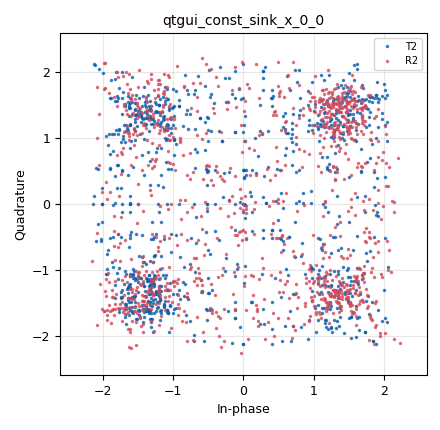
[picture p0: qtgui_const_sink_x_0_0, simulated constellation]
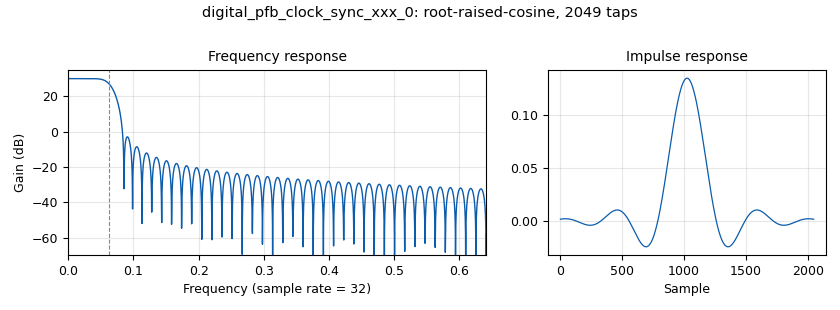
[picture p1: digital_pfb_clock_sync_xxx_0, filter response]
options:
  parameters:
    author: Homero Ortega Boada
    category: Custom
    description: Dale un valor a Es/No, corre el flujograma y obten la SER. Puedes sacar tantos valores como para construir una curva de SER
    generate_options: qt_gui
    id: ser_simulation
    output_language: python
    run: run_stop
    title: SER Simulation
  states: {}

blocks:
- name: Dtiming
  id: variable_qtgui_range
  parameters:
    gui_hint: controles@0:4,0,1,1
    label: Dtiming
    rangeType: int
    start: '0'
    step: '1'
    stop: Sps-1
    value: '0'
  states: {state: disabled}
- name: Jitter
  id: variable_qtgui_range
  parameters:
    gui_hint: controles@0:6,0,1,1
    label: Jitter
    rangeType: int
    start: '0'
    step: '1'
    stop: Sps
    value: '0'
  states: {}
- name: M
  id: variable
  parameters:
    value: len(constel)
  states: {}
- name: Noise
  id: variable_qtgui_range
  parameters:
    gui_hint: controles@0:1,0,1,1
    label: Noise
    start: '0'
    step: '0.1'
    stop: '10'
    value: '0.1'
  states: {}
- name: Retardo_sym
  id: variable_qtgui_range
  parameters:
    gui_hint: controles@0:5,0,1,1
    label: Delay transmited signal to match with the received signal
    rangeType: int
    start: '0'
    step: '1'
    stop: Sps*10
    value: '10'
  states: {}
- name: Rs
  id: variable
  parameters:
    value: samp_rate/Sps
  states: {}
- name: Sps
  id: variable
  parameters:
    value: '8'
  states: {}
- name: a_d
  id: variable_qtgui_range
  parameters:
    gui_hint: controles@0:3,0,1,1
    label: Fading
    start: '0'
    step: 1/100
    stop: '1'
    value: '1'
  states: {}
- name: alpha
  id: variable
  parameters:
    value: '0.3'
  states: {}
- name: constel
  id: variable
  parameters:
    value: digital.constellation_qpsk().points()
  states: {}
- name: f_d
  id: variable_qtgui_range
  parameters:
    gui_hint: controles@0:2,0,1,1
    label: Desviacion de Frecuencia
    start: '0'
    step: 1400/100
    stop: '1400'
    value: '0'
  states: {}
- name: h
  id: variable
  parameters:
    value: mis_funciones.rrcos(Sps,ntaps,alpha)
  states: {}
- name: mapdirect
  id: variable
  parameters:
    value: coding.direct_map(constel)
  states: {}
- name: mapinverse
  id: variable
  parameters:
    value: coding.inverse_map(constel)
  states: {}
- name: nfilts
  id: variable
  parameters:
    value: '32'
  states: {}
- name: ntaps
  id: variable
  parameters:
    value: '64'
  states: {}
- name: run_stop
  id: variable_qtgui_check_box
  parameters:
    'false': 'False'
    gui_hint: controles@0:0,0,1,1
    label: Inicial/Parar
    'true': 'True'
    type: int
    value: 'True'
  states: {}
- name: samp_rate
  id: variable
  parameters:
    value: 100e3
  states: {}
- name: analog_agc3_xx_0
  id: analog_agc3_xx
  parameters:
    attack_rate: '1e-3'
    decay_rate: '1e-4'
    gain: '1.0'
    iir_update_decim: '1'
    max_gain: '65536'
    reference: '1.0'
    type: complex
  states: {}
- name: analog_const_source_x_0
  id: analog_const_source_x
  parameters:
    const: np.exp(math.pi*1j)
    type: complex
  states: {}
- name: analog_noise_source_x_0
  id: analog_noise_source_x
  parameters:
    amp: Noise
    noise_type: analog.GR_GAUSSIAN
    seed: '0'
    type: complex
  states: {}
- name: analog_random_source_x_1
  id: analog_random_source_x
  parameters:
    max: M
    min: '0'
    num_samps: '10000000'
    repeat: 'True'
    type: byte
  states: {}
- name: analog_sig_source_x_1
  id: analog_sig_source_x
  parameters:
    amp: '1'
    freq: f_d
    offset: '0'
    phase: '0'
    samp_rate: samp_rate
    type: complex
    waveform: analog.GR_COS_WAVE
  states: {}
- name: b_FLL_tunner2_0
  id: b_FLL_tunner2
  parameters:
    Constellation: constel
  states: {}
- name: b_demod_constelacion_cb_0
  id: b_demod_constelacion_cb
  parameters:
    Constelacion: constel
  states: {}
- name: blocks_add_xx_0
  id: blocks_add_xx
  parameters:
    type: complex
  states: {}
- name: blocks_char_to_float_0
  id: blocks_char_to_float
  parameters:
    scale: '1'
  states: {state: disabled}
- name: blocks_char_to_float_0_0
  id: blocks_char_to_float
  parameters:
    scale: '1'
  states: {state: disabled}
- name: blocks_char_to_float_0_0_0
  id: blocks_char_to_float
  parameters:
    scale: '1'
  states: {}
- name: blocks_char_to_float_0_1
  id: blocks_char_to_float
  parameters:
    scale: '1'
  states: {}
- name: blocks_delay_0
  id: blocks_delay
  parameters:
    delay: Retardo_sym
    type: float
  states: {}
- name: blocks_delay_1
  id: blocks_delay
  parameters:
    delay: Jitter
    type: complex
  states: {}
- name: blocks_multiply_const_vxx_0
  id: blocks_multiply_const_vxx
  parameters:
    const: a_d
    type: complex
  states: {}
- name: blocks_multiply_const_vxx_0_0
  id: blocks_multiply_const_vxx
  parameters:
    const: 1/Sps
    type: complex
  states: {}
- name: blocks_multiply_xx_0
  id: blocks_multiply_xx
  parameters:
    num_inputs: '3'
    type: complex
  states: {}
- name: blocks_null_sink_0
  id: blocks_null_sink
  parameters:
    type: byte
  states: {}
- name: coding
  id: epy_module
  parameters:
    source_code: "# this module will be imported in the into your flowgraph\nimport numpy\nimport math\n#######################################################\n##        Done by Homero Ortega Boada              ##\n##        comdiguis@saber.uis.edu.co                 ##\n##     Universidad Industrial de Santander           ##\n#######################################################\n#######################################################\n##       Constellation map  identification           ##\n#######################################################                  \n# Constellation points are analyzed to determine the \n# the map used for ordering of the constellation points\ndef sum_modulus(a,b,modulus):\n    # realiza una suma de a y b en modulo modulus\n    return (a+b)%modulus\n\ndef angle_map(constellation_points):\n    # esta funcion entrega todos los angulos positivos entre 0 y 2pi\n    angles=numpy.angle(constellation_points)\n    return sum_modulus(angles, 2*math.pi, 2*math.pi)\n\ndef inverse_map(constellation_points):\n    M=len(constellation_points)\n    angles=angle_map(constellation_points)\n    angles=sum_modulus(angles,-angles[0], 2*math.pi) # giro a agulo cero\n    delta_angle= 2*math.pi/M     # angulo entre puntos\n    cod_inv=numpy.round(angles/delta_angle)\n    cod_inv=cod_inv.astype(numpy.int) #conversion a entero \n    return cod_inv\n\ndef direct_map(constellation_points):\n    M=len(constellation_points)\n    codinv=inverse_map(constellation_points)\n    coddirect=numpy.array([0]*M)\n    for j in range(M):\n        temp=numpy.where(codinv==j)\n        coddirect[j]=temp[0][0]\n    return coddirect\n\n\"\"\" # SECCION DE PRUEBAS DEL CODIGO\nimport gnuradio.digital as digital\nconstelacion=digital.constellation_8psk().points()\nprint(\"constelacion = \", constelacion)\nmapdirect=direct_map(constelacion)\nprint(\"codigo directo = \", mapdirect)\nmapinverse=inverse_map(constelacion)\nprint(\"codigo inverso = \", mapinverse)\n\"\"\"\n\n\n\n\n\n\n"
  states: {}
- name: controles
  id: qtgui_tab_widget
  parameters:
    gui_hint: 1,0,1,1
    label0: Tab 0
    num_tabs: '1'
  states: {}
- name: digital_chunks_to_symbols_xx_1
  id: digital_chunks_to_symbols_xx
  parameters:
    dimension: '1'
    in_type: byte
    out_type: complex
    symbol_table: constel
  states: {}
- name: digital_diff_decoder_bb_0
  id: digital_diff_decoder_bb
  parameters:
    modulus: M
  states: {}
- name: digital_diff_encoder_bb_0
  id: digital_diff_encoder_bb
  parameters:
    modulus: M
  states: {}
- name: digital_map_bb_0
  id: digital_map_bb
  parameters:
    map: mapdirect
  states: {}
- name: digital_map_bb_0_0
  id: digital_map_bb
  parameters:
    map: mapinverse
  states: {}
- name: digital_pfb_clock_sync_xxx_0
  id: digital_pfb_clock_sync_xxx
  parameters:
    filter_size: nfilts
    init_phase: nfilts/2
    loop_bw: 2*math.pi/100.0
    max_dev: '1.5'
    osps: '1'
    sps: Sps
    taps: firdes.root_raised_cosine(nfilts, nfilts, 1.0/float(Sps), alpha, ntaps*nfilts)
    type: ccf
  states: {}
- name: import
  id: import
  parameters:
    imports: import math
  states: {}
- name: import_0
  id: import
  parameters:
    imports: import numpy as np
  states: {}
- name: interp_fir_filter_xxx_0
  id: interp_fir_filter_xxx
  parameters:
    interp: Sps
    taps: h
    type: ccf
  states: {}
- name: mis_funciones
  id: epy_module
  parameters:
    source_code: "# this module will be imported in the into your flowgraph\nimport numpy as np\nimport math\n\ndef nyq(Sps,ntaps):\n    k=np.linspace(-ntaps/2, ntaps/2-1, ntaps)\n    h=np.sinc(k/Sps)\n    return h\n    \n#######################################################\n##                  Delta                            ##\n#######################################################                       \ndef delta(ntaps):\n    cerosd=(   [0]*(int(ntaps/2)-1)    )\n    cerosdi=(   [0]*(int(ntaps/2))     )\n    delta_i= np.concatenate(( cerosdi, ([1]) ))\n    delta=np.concatenate(( delta_i, cerosd ))\n    return delta\n   \n#######################################################\n##               Forma Coseno Alzado                 ##\n#######################################################                       \ndef rcos(Sps,ntaps,beta):\n    if beta==0:\n        h=nyq(Sps,ntaps)\n    else:\n        h=ntaps*[0,]\n        for n in range(ntaps):\n            k=n-ntaps/2. # esto es para que h[n] quede centrada en la mitad del vector\n            if abs(k)==Sps/(2.*beta):\n                h[n]=np.sinc(1./(2.*beta))*math.pi/4.\n            else:\n                h[n]=np.sinc(k/Sps)*math.cos(beta*k*math.pi/Sps)/(1.-(2.*beta*k/Sps)**2)                \n    Amp=np.amax(h)\n    return h/Amp\n    \n#######################################################\n##            Forma Raiz de Coseno Alzado            ##\n#######################################################                       \n\ndef rrcos(Sps,ntaps,beta):\n    if beta==0:\n        h=nyq(Sps,ntaps)\n    else:\n        h=ntaps*[0,]\n        beta4=4.*beta\n        for n in range(ntaps):\n            k=n-ntaps/2. # esto es para que h[n] quede centrada en la mitad del vector\n            if k==0:\n                h[n]=1+beta*(4./math.pi-1.)\n            elif abs(k)==Sps/beta4:\n                ha=(1.+2./math.pi)*math.sin(math.pi/beta4)\n                hb=(1.-2./math.pi)*math.cos(math.pi/beta4)\n                h[n]=(ha+hb)*beta/math.sqrt(2.)\n            else:\n                ks=k/Sps\n                kspi=math.pi*ks\n                Num=math.sin(kspi*(1-beta))+beta4*ks*math.cos(kspi*(1+beta))\n                Den=kspi*(1.-(beta4*ks)**2)\n                h[n]=Num/Den                \n    Amp=np.amax(h)\n    return h/Amp\n\n"
  states: {}
- name: note_0_0_1_0_0
  id: note
  parameters:
    note: 'CAPA: Diff Coding'
  states: {}
- name: note_0_0_1_0_0_0
  id: note
  parameters:
    note: 'CAPA: Modulacion'
  states: {}
- name: note_0_0_1_0_0_1
  id: note
  parameters:
    note: 'CAPA: Canal'
  states: {}
- name: note_0_0_1_0_0_1_0
  id: note
  parameters:
    note: Precanal
  states: {}
- name: qtgui_const_sink_x_0
  id: qtgui_const_sink_x
  parameters:
    gui_hint: 7,0,1,1
    label1: R2.1
    label2: R1
    nconnections: '2'
    size: '1024'
    type: complex
  states: {}
- name: qtgui_const_sink_x_0_0
  id: qtgui_const_sink_x
  parameters:
    autoscale: 'True'
    gui_hint: 1,1,2,2
    label1: T2
    label2: R2
    marker1: '-1'
    marker2: '-1'
    nconnections: '2'
    size: '1024'
    style1: '1'
    style2: '1'
    type: complex
  states: {}
- name: qtgui_time_sink_x_1
  id: qtgui_time_sink_x
  parameters:
    gui_hint: 1,1,2,2
    label1: T0
    label2: R0
    marker1: '0'
    marker2: '0'
    nconnections: '2'
    size: '1024'
    srate: Rs
    stemplot: 'True'
    type: float
    ymax: M
  states: {state: disabled}
- name: qtgui_time_sink_x_1_0
  id: qtgui_time_sink_x
  parameters:
    gui_hint: 7,1,1,2
    label1: T-1
    label2: R-1
    marker1: '0'
    marker2: '0'
    nconnections: '2'
    size: '1024'
    srate: Rs
    stemplot: 'True'
    type: float
    ymax: M
  states: {}
- name: virtual_sink_0_0_0_1_0
  id: virtual_sink
  parameters:
    stream_id: T0
  states: {}
- name: virtual_sink_0_0_0_2_0_0
  id: virtual_sink
  parameters:
    stream_id: R0
  states: {}
- name: virtual_source_0
  id: virtual_source
  parameters:
    stream_id: R2.1
  states: {}
- name: virtual_source_0_0
  id: virtual_source
  parameters:
    stream_id: R1
  states: {}
- name: virtual_source_0_1
  id: virtual_source
  parameters:
    stream_id: T2
  states: {}
- name: virtual_source_0_1_0
  id: virtual_source
  parameters:
    stream_id: R2
  states: {}
- name: virtual_source_0_1_1
  id: virtual_source
  parameters:
    stream_id: T0
  states: {state: disabled}
- name: virtual_source_0_1_1_0
  id: virtual_source
  parameters:
    stream_id: R0
  states: {state: disabled}
- name: virtual_source_0_1_1_0_0
  id: virtual_source
  parameters:
    stream_id: R-1
  states: {}
- name: virtual_source_0_1_1_1
  id: virtual_source
  parameters:
    stream_id: T-1
  states: {}
- name: vs0_1
  id: virtual_sink
  parameters:
    stream_id: T-1
  states: {}
- name: vs0_1_0
  id: virtual_sink
  parameters:
    stream_id: R2
  states: {}
- name: vs0_1_0_0
  id: virtual_sink
  parameters:
    stream_id: R1
  states: {}
- name: vs0_1_0_0_0
  id: virtual_sink
  parameters:
    stream_id: T1
  states: {}
- name: vs0_1_0_1
  id: virtual_sink
  parameters:
    stream_id: R2.1
  states: {}
- name: vs0_1_0_2
  id: virtual_sink
  parameters:
    stream_id: T2
  states: {}
- name: vs1_0_0
  id: virtual_sink
  parameters:
    stream_id: R-1
  states: {}

connections:
- [analog_agc3_xx_0, '0', b_FLL_tunner2_0, '0']
- [analog_const_source_x_0, '0', blocks_multiply_xx_0, '0']
- [analog_noise_source_x_0, '0', blocks_add_xx_0, '1']
- [analog_random_source_x_1, '0', digital_diff_encoder_bb_0, '0']
- [analog_random_source_x_1, '0', vs0_1, '0']
- [analog_sig_source_x_1, '0', blocks_multiply_xx_0, '1']
- [b_FLL_tunner2_0, '0', b_demod_constelacion_cb_0, '0']
- [b_FLL_tunner2_0, '0', vs0_1_0_0, '0']
- [b_demod_constelacion_cb_0, '0', digital_map_bb_0_0, '0']
- [b_demod_constelacion_cb_0, '0', virtual_sink_0_0_0_2_0_0, '0']
- [blocks_add_xx_0, '0', blocks_multiply_xx_0, '2']
- [blocks_char_to_float_0, '0', qtgui_time_sink_x_1, '0']
- [blocks_char_to_float_0_0, '0', qtgui_time_sink_x_1, '1']
- [blocks_char_to_float_0_0_0, '0', qtgui_time_sink_x_1_0, '1']
- [blocks_char_to_float_0_1, '0', blocks_delay_0, '0']
- [blocks_delay_0, '0', qtgui_time_sink_x_1_0, '0']
- [blocks_delay_1, '0', blocks_multiply_const_vxx_0, '0']
- [blocks_multiply_const_vxx_0, '0', blocks_add_xx_0, '0']
- [blocks_multiply_const_vxx_0_0, '0', qtgui_const_sink_x_0, '0']
- [blocks_multiply_xx_0, '0', digital_pfb_clock_sync_xxx_0, '0']
- [blocks_multiply_xx_0, '0', vs0_1_0, '0']
- [digital_chunks_to_symbols_xx_1, '0', interp_fir_filter_xxx_0, '0']
- [digital_chunks_to_symbols_xx_1, '0', vs0_1_0_0_0, '0']
- [digital_diff_decoder_bb_0, '0', blocks_null_sink_0, '0']
- [digital_diff_decoder_bb_0, '0', vs1_0_0, '0']
- [digital_diff_encoder_bb_0, '0', digital_map_bb_0, '0']
- [digital_map_bb_0, '0', digital_chunks_to_symbols_xx_1, '0']
- [digital_map_bb_0, '0', virtual_sink_0_0_0_1_0, '0']
- [digital_map_bb_0_0, '0', digital_diff_decoder_bb_0, '0']
- [digital_pfb_clock_sync_xxx_0, '0', analog_agc3_xx_0, '0']
- [digital_pfb_clock_sync_xxx_0, '0', vs0_1_0_1, '0']
- [interp_fir_filter_xxx_0, '0', blocks_delay_1, '0']
- [interp_fir_filter_xxx_0, '0', vs0_1_0_2, '0']
- [virtual_source_0, '0', blocks_multiply_const_vxx_0_0, '0']
- [virtual_source_0_0, '0', qtgui_const_sink_x_0, '1']
- [virtual_source_0_1, '0', qtgui_const_sink_x_0_0, '0']
- [virtual_source_0_1_0, '0', qtgui_const_sink_x_0_0, '1']
- [virtual_source_0_1_1, '0', blocks_char_to_float_0, '0']
- [virtual_source_0_1_1_0, '0', blocks_char_to_float_0_0, '0']
- [virtual_source_0_1_1_0_0, '0', blocks_char_to_float_0_0_0, '0']
- [virtual_source_0_1_1_1, '0', blocks_char_to_float_0_1, '0']

metadata:
  file_format: 1
